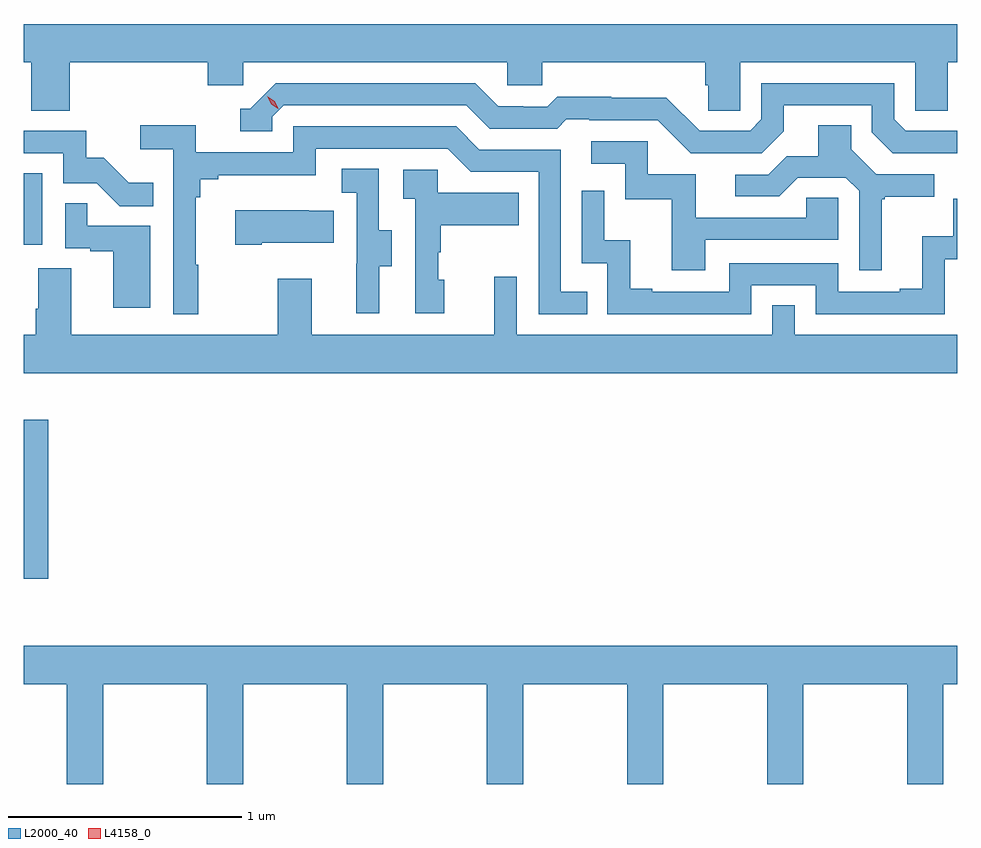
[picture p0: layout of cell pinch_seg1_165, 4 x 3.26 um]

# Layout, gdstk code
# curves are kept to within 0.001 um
import gdstk
lib = gdstk.Library(unit=1e-6, precision=1e-09)
def R(c, l, rs):  # rectangles x0, y0, x1, y1
    for r in rs: c.add(gdstk.rectangle(r[:2], r[2:], *l))
def P(c, l, *ps):  # polygons
    for p in ps: c.add(gdstk.Polygon(p, *l))
L2000_40 = (2000, 40)
L4158_0 = (4158, 0)

pinch_seg1_165 = lib.new_cell('pinch_seg1_165')
R(pinch_seg1_165, L2000_40, [(1090.478,541.528,1090.583,542.209), (1090.478,542.958,1090.558,543.265)])
P(pinch_seg1_165, L2000_40, [(1090.478,543.74),(1090.511,543.74),(1090.511,543.532),(1090.676,543.532),(1090.676,543.74),(1091.267,543.74),(1091.267,543.642),(1091.418,543.642),(1091.418,543.74),(1092.549,543.74),(1092.549,543.642),(1092.699,543.642),(1092.699,543.74),(1093.397,543.74),(1093.397,543.642),(1093.411,543.642),(1093.411,543.532),(1093.548,543.532),(1093.548,543.74),(1094.298,543.74),(1094.298,543.532),(1094.437,543.532),(1094.437,543.74),(1094.478,543.74),(1094.478,543.904),(1090.478,543.904)],
  [(1094.478,543.447),(1094.256,543.447),(1094.208,543.495),(1094.208,543.651),(1093.638,543.651),(1093.638,543.495),(1093.59,543.447),(1093.374,543.447),(1093.232,543.589),(1092.996,543.589),(1092.996,543.592),(1092.763,543.592),(1092.721,543.549),(1092.618,543.549),(1092.618,543.552),(1092.511,543.552),(1092.412,543.651),(1091.559,543.651),(1091.448,543.54),(1091.405,543.54),(1091.405,543.444),(1091.544,543.444),(1091.544,543.507),(1091.592,543.555),(1092.375,543.555),(1092.474,543.456),(1092.763,543.456),(1092.802,543.495),(1092.901,543.495),(1092.901,543.492),(1093.194,543.492),(1093.335,543.351),(1093.641,543.351),(1093.735,543.445),(1093.735,543.555),(1094.112,543.555),(1094.112,543.441),(1094.202,543.351),(1094.478,543.35)],
  [(1091.227,542.873),(1091.215,542.873),(1091.215,543.161),(1091.234,543.161),(1091.234,543.238),(1091.311,543.238),(1091.311,543.257),(1091.73,543.257),(1091.73,543.369),(1092.294,543.369),(1092.393,543.27),(1092.684,543.27),(1092.684,542.661),(1092.893,542.661),(1092.893,542.757),(1092.78,542.757),(1092.78,543.366),(1092.43,543.366),(1092.331,543.465),(1091.634,543.465),(1091.634,543.354),(1091.216,543.354),(1091.216,543.47),(1090.977,543.47),(1090.977,543.368),(1091.118,543.368),(1091.118,542.661),(1091.227,542.661)],
  [(1094.155,543.153),(1094.167,543.153),(1094.167,543.164),(1094.38,543.164),(1094.38,543.261),(1094.13,543.261),(1094.023,543.368),(1094.023,543.47),(1093.883,543.47),(1093.883,543.338),(1093.748,543.338),(1093.668,543.258),(1093.527,543.258),(1093.527,543.165),(1093.714,543.165),(1093.795,543.246),(1094.001,543.246),(1094.058,543.189),(1094.058,542.85),(1094.155,542.85)],
  [(1091.033,543.223),(1090.929,543.223),(1090.822,543.33),(1090.746,543.33),(1090.746,543.447),(1090.478,543.447),(1090.478,543.351),(1090.647,543.351),(1090.647,543.222),(1090.791,543.222),(1090.889,543.124),(1091.033,543.124)],
  [(1093.399,542.979),(1093.968,542.979),(1093.968,543.159),(1093.831,543.159),(1093.831,543.075),(1093.357,543.075),(1093.357,543.261),(1093.152,543.261),(1093.152,543.402),(1092.909,543.402),(1092.909,543.306),(1093.056,543.306),(1093.056,543.153),(1093.255,543.153),(1093.255,542.85),(1093.399,542.85)],
  [(1092.001,542.866),(1092.055,542.866),(1092.055,543.021),(1092,543.021),(1092,543.284),(1091.841,543.284),(1091.841,543.181),(1091.904,543.181),(1091.904,542.877),(1091.903,542.877),(1091.903,542.664),(1092.001,542.664)],
  [(1092.28,542.808),(1092.255,542.808),(1092.255,542.927),(1092.265,542.927),(1092.265,543.041),(1092.599,543.041),(1092.599,543.181),(1092.252,543.181),(1092.252,543.279),(1092.105,543.279),(1092.105,543.155),(1092.156,543.155),(1092.156,542.664),(1092.28,542.664)],
  [(1093.596,542.784),(1093.872,542.784),(1093.872,542.661),(1094.424,542.661),(1094.424,542.897),(1094.478,542.897),(1094.478,543.156),(1094.46,543.156),(1094.46,542.995),(1094.327,542.995),(1094.327,542.77),(1094.231,542.77),(1094.231,542.757),(1093.968,542.757),(1093.968,542.88),(1093.5,542.88),(1093.5,542.757),(1093.171,542.757),(1093.171,542.77),(1093.076,542.77),(1093.076,542.978),(1092.966,542.978),(1092.966,543.19),(1092.87,543.19),(1092.87,542.88),(1092.978,542.88),(1092.978,542.661),(1093.596,542.661)],
  [(1091.02,543.039),(1090.751,543.039),(1090.751,543.137),(1090.656,543.137),(1090.656,542.943),(1090.763,542.943),(1090.763,542.931),(1090.862,542.931),(1090.862,542.688),(1091.02,542.688)],
  [(1091.497,542.966),(1091.807,542.966),(1091.807,543.103),(1091.699,543.103),(1091.699,543.106),(1091.385,543.106),(1091.385,542.959),(1091.497,542.959)],
  [(1094.478,542.572),(1093.782,542.572),(1093.782,542.699),(1093.686,542.699),(1093.686,542.572),(1092.591,542.572),(1092.591,542.821),(1092.494,542.821),(1092.494,542.572),(1091.713,542.572),(1091.713,542.812),(1091.566,542.812),(1091.566,542.572),(1090.681,542.572),(1090.681,542.858),(1090.541,542.858),(1090.541,542.684),(1090.529,542.684),(1090.529,542.572),(1090.478,542.572),(1090.478,542.408),(1094.478,542.408)],
  [(1090.818,541.076),(1091.263,541.076),(1091.263,540.648),(1091.418,540.648),(1091.418,541.076),(1091.863,541.076),(1091.863,540.648),(1092.018,540.648),(1092.018,541.076),(1092.463,541.076),(1092.463,540.648),(1092.618,540.648),(1092.618,541.076),(1093.063,541.076),(1093.063,540.648),(1093.218,540.648),(1093.218,541.076),(1093.663,541.076),(1093.663,540.648),(1093.818,540.648),(1093.818,541.076),(1094.263,541.076),(1094.263,540.648),(1094.418,540.648),(1094.418,541.076),(1094.478,541.076),(1094.478,541.24),(1090.478,541.24),(1090.478,541.076),(1090.663,541.076),(1090.663,540.648),(1090.818,540.648)])
P(pinch_seg1_165, L4158_0, [(1091.568,543.541),(1091.538,543.561),(1091.522,543.594),(1091.522,543.594),(1091.522,543.594),(1091.553,543.574),(1091.568,543.542),(1091.568,543.541)])

lib.write_gds('pinch_seg1_165.gds')
